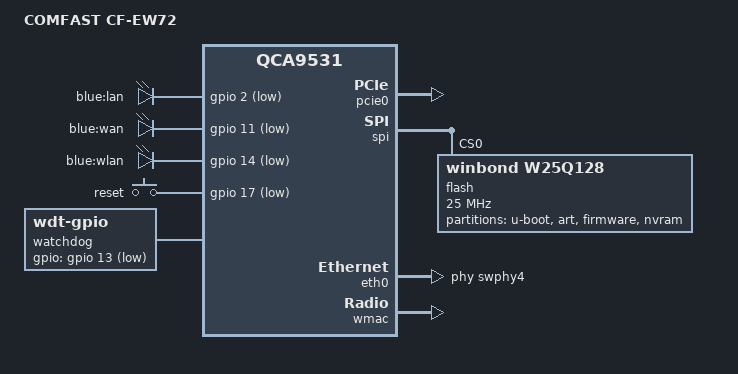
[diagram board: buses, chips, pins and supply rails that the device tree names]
// SPDX-License-Identifier: GPL-2.0-or-later OR MIT

#include "qca953x.dtsi"

#include <dt-bindings/gpio/gpio.h>
#include <dt-bindings/input/input.h>

/ {
	compatible = "comfast,cf-ew72", "qca,qca9531";
	model = "COMFAST CF-EW72";

	aliases {
		serial0 = &uart;
		led-boot = &led_wan;
		led-failsafe = &led_wan;
		led-upgrade = &led_wan;
	};

	leds {
		compatible = "gpio-leds";

		pinctrl-names = "default";
		pinctrl-0 = <&jtag_disable_pins>;

		lan {
			label = "blue:lan";
			gpios = <&gpio 2 GPIO_ACTIVE_LOW>;
		};

		led_wan: wan {
			label = "blue:wan";
			gpios = <&gpio 11 GPIO_ACTIVE_LOW>;
		};

		wlan {
			label = "blue:wlan";
			gpios = <&gpio 14 GPIO_ACTIVE_LOW>;
			linux,default-trigger = "phy0tpt";
		};
	};

	keys {
		compatible = "gpio-keys";

		reset {
			label = "reset";
			linux,code = <KEY_RESTART>;
			gpios = <&gpio 17 GPIO_ACTIVE_LOW>;
			debounce-interval = <60>;
		};
	};

	watchdog {
		compatible = "linux,wdt-gpio";

		gpios = <&gpio 13 GPIO_ACTIVE_LOW>;
		hw_algo = "toggle";
		hw_margin_ms = <1200>;
		always-running;
	};
};

&pcie0 {
	status = "okay";
};

&spi {
	status = "okay";

	flash@0 {
		compatible = "winbond,w25q128", "jedec,spi-nor";
		reg = <0>;
		spi-max-frequency = <25000000>;

		partitions {
			compatible = "fixed-partitions";
			#address-cells = <1>;
			#size-cells = <1>;

			partition@0 {
				label = "u-boot";
				reg = <0x000000 0x010000>;
				read-only;
			};

			art: partition@10000 {
				label = "art";
				reg = <0x010000 0x010000>;
				read-only;
			};

			partition@20000 {
				compatible = "denx,uimage";
				label = "firmware";
				reg = <0x020000 0xfd0000>;
			};

			partition@ff0000 {
				label = "nvram";
				reg = <0xff0000 0x010000>;
				read-only;
			};
		};
	};
};

&eth0 {
	status = "okay";

	phy-handle = <&swphy4>;

	nvmem-cells = <&macaddr_art_0>;
	nvmem-cell-names = "mac-address";
	mac-address-increment = <1>;
};

&eth1 {
	nvmem-cells = <&macaddr_art_0>;
	nvmem-cell-names = "mac-address";
};

&wmac {
	status = "okay";

	mtd-cal-data = <&art 0x1000>;
	nvmem-cells = <&macaddr_art_0>;
	nvmem-cell-names = "mac-address";
	mac-address-increment = <3>;
};

&art {
	compatible = "nvmem-cells";
	#address-cells = <1>;
	#size-cells = <1>;

	macaddr_art_0: macaddr@0 {
		reg = <0x0 0x6>;
	};
};
